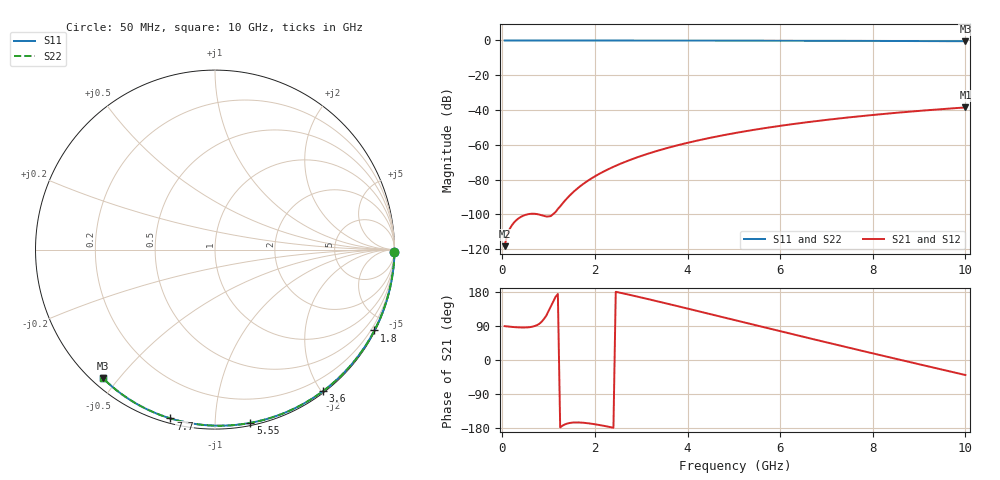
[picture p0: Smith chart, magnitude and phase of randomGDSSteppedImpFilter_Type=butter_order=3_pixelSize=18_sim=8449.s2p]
! freq	dB(S11)	phase(S11)	dB(S12)	phase(S12)
!  dB(S21)	phase(S21)	dB(S22)	phase(S22)
!S-par simulation data
#  GHz  S  DB  R 50
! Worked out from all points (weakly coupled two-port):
!   200 points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, 50 MHz to 10 GHz, reference 50 ohm
!   highest |S21| = -38.54 dB at 10 GHz (marker M1); lowest = -118.3 dB at 50 MHz (marker M2)
!   lowest |S11| = -0.4 dB at 10 GHz (marker M3), VSWR 39.18, Z = 1.54 - j22.7 ohm
!   |S11| at or under -10 dB: nowhere
!   |S22| runs from -0.4 to 0.0 dB; largest |S21 - S12| = 0
!   S11 on the Smith chart (normalised r, x): 50 MHz: open; 1.8 GHz: 0.04, -4.19; 3.6 GHz: 0.02, -2.03; 5.55 GHz: 0.02, -1.22; 7.7 GHz: 0.02, -0.77; 10 GHz: 0.03, -0.45
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0.05  -0.00 -0.8  -118.34 89.3  -118.34 89.3  -0.00 -0.8
0.45  -0.01 -6.8  -100.84 85.7  -100.84 85.7  -0.01 -6.8
0.9  -0.02 -13.6  -100.96 108.4  -100.96 108.4  -0.02 -13.6
1.75  -0.03 -26.1  -82.50 -165.6  -82.50 -165.6  -0.03 -26.1
1.8  -0.03 -26.9  -81.55 -166.2  -81.55 -166.2  -0.03 -26.9
1.9  -0.04 -28.3  -79.79 -167.7  -79.79 -167.7  -0.04 -28.3
2.05  -0.04 -30.5  -77.39 -170.6  -77.39 -170.6  -0.04 -30.5
2.25  -0.04 -33.4  -74.57 -175.0  -74.57 -175.0  -0.04 -33.4
2.45  -0.05 -36.3  -72.08 180.0  -72.08 180.0  -0.05 -36.3
2.65  -0.05 -39.2  -69.85 174.7  -69.85 174.7  -0.05 -39.2
3  -0.06 -44.1  -66.43 165.0  -66.43 165.0  -0.06 -44.1
3.4  -0.07 -49.8  -63.08 153.4  -63.08 153.4  -0.07 -49.8
3.6  -0.07 -52.5  -61.59 147.6  -61.59 147.6  -0.07 -52.5
4.3  -0.09 -62.1  -57.07 126.8  -57.07 126.8  -0.09 -62.1
5.05  -0.11 -72.0  -53.15 104.4  -53.15 104.4  -0.11 -72.0
5.55  -0.13 -78.5  -50.91 89.5  -50.91 89.5  -0.13 -78.5
6.1  -0.15 -85.4  -48.74 73.1  -48.74 73.1  -0.15 -85.4
6.7  -0.18 -92.8  -46.64 55.4  -46.64 55.4  -0.18 -92.8
7.7  -0.24 -104.8  -43.66 26.2  -43.66 26.2  -0.24 -104.8
8.35  -0.29 -112.4  -42.00 7.4  -42.00 7.4  -0.29 -112.4
9.15  -0.36 -121.5  -40.19 -15.5  -40.19 -15.5  -0.36 -121.5
10  -0.44 -131.1  -38.54 -39.6  -38.54 -39.6  -0.44 -131.1
